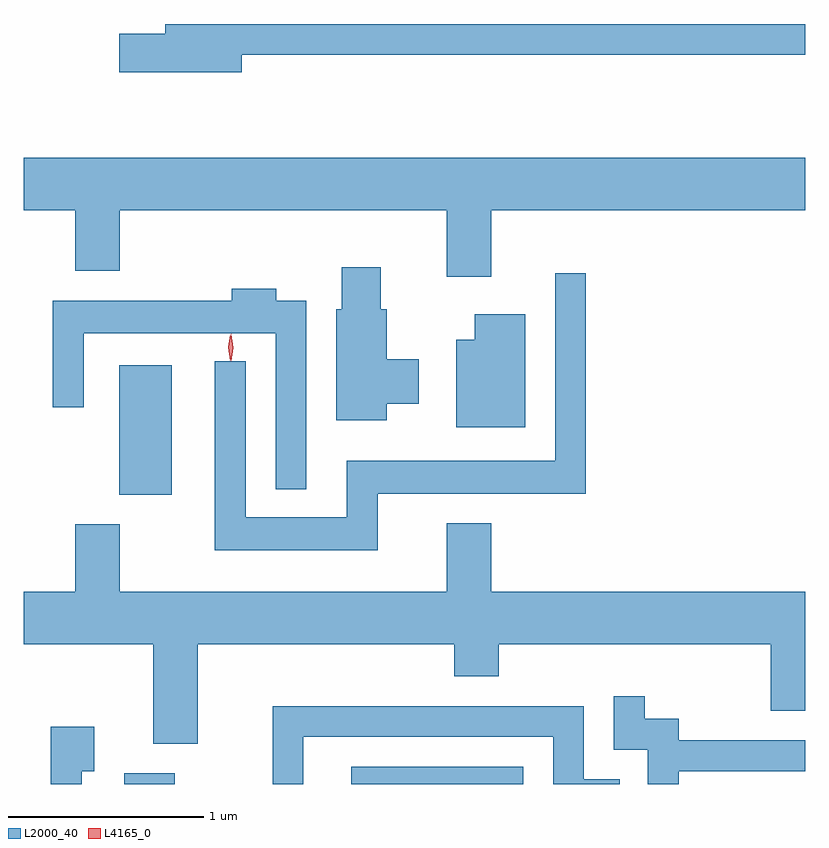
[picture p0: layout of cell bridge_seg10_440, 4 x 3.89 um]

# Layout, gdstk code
import gdstk
lib = gdstk.Library(unit=1e-6, precision=1e-09)
def R(c, l, rs):  # rectangles x0, y0, x1, y1
    for r in rs: c.add(gdstk.rectangle(r[:2], r[2:], *l))
def P(c, l, *ps):  # polygons
    for p in ps: c.add(gdstk.Polygon(p, *l))
L2000_40 = (2000, 40)
L4165_0 = (4165, 0)

bridge_seg10_440 = lib.new_cell('bridge_seg10_440')
R(bridge_seg10_440, L2000_40, [(1442.211,2099.88,1442.469,2099.934), (1443.373,2099.88,1444.254,2099.969), (1442.186,2101.361,1442.454,2102.024)])
P(bridge_seg10_440, L2000_40, [(1442.814,2103.611),(1445.697,2103.611),(1445.697,2103.769),(1442.421,2103.769),(1442.421,2103.719),(1442.186,2103.719),(1442.186,2103.521),(1442.814,2103.521)],
  [(1444.089,2102.816),(1445.697,2102.816),(1445.697,2103.084),(1441.697,2103.084),(1441.697,2102.816),(1441.961,2102.816),(1441.961,2102.506),(1442.189,2102.506),(1442.189,2102.816),(1443.861,2102.816),(1443.861,2102.476),(1444.089,2102.476)],
  [(1443.554,2101.826),(1443.719,2101.826),(1443.719,2102.054),(1443.554,2102.054),(1443.554,2102.309),(1443.524,2102.309),(1443.524,2102.524),(1443.326,2102.524),(1443.326,2102.309),(1443.296,2102.309),(1443.296,2101.741),(1443.554,2101.741)],
  [(1443.509,2101.366),(1444.574,2101.366),(1444.574,2102.493),(1444.416,2102.493),(1444.416,2101.534),(1443.351,2101.534),(1443.351,2101.244),(1442.834,2101.244),(1442.834,2102.043),(1442.676,2102.043),(1442.676,2101.076),(1443.509,2101.076)],
  [(1443.144,2102.354),(1442.989,2102.354),(1442.989,2102.414),(1442.761,2102.414),(1442.761,2102.354),(1441.846,2102.354),(1441.846,2101.808),(1442.004,2101.808),(1442.004,2102.186),(1442.986,2102.186),(1442.986,2101.388),(1443.144,2101.388)],
  [(1444.264,2102.284),(1444.006,2102.284),(1444.006,2102.154),(1443.911,2102.154),(1443.911,2101.706),(1444.264,2101.706)],
  [(1442.589,2100.596),(1443.901,2100.596),(1443.901,2100.431),(1444.129,2100.431),(1444.129,2100.596),(1445.521,2100.596),(1445.521,2100.256),(1445.697,2100.256),(1445.697,2100.864),(1444.089,2100.864),(1444.089,2101.214),(1443.861,2101.214),(1443.861,2100.864),(1442.189,2100.864),(1442.189,2101.209),(1441.961,2101.209),(1441.961,2100.864),(1441.697,2100.864),(1441.697,2100.596),(1442.361,2100.596),(1442.361,2100.086),(1442.589,2100.086)],
  [(1445.049,2099.946),(1445.697,2099.946),(1445.697,2100.104),(1445.049,2100.104),(1445.049,2100.214),(1444.874,2100.214),(1444.874,2100.328),(1444.716,2100.328),(1444.716,2100.056),(1444.891,2100.056),(1444.891,2099.88),(1445.049,2099.88)],
  [(1443.129,2100.121),(1444.406,2100.121),(1444.406,2099.88),(1444.748,2099.88),(1444.748,2099.904),(1444.564,2099.904),(1444.564,2100.279),(1442.971,2100.279),(1442.971,2099.88),(1443.129,2099.88)],
  [(1441.994,2099.946),(1442.059,2099.946),(1442.059,2100.174),(1441.836,2100.174),(1441.836,2099.88),(1441.994,2099.88)])
P(bridge_seg10_440, L4165_0, [(1442.754,2102.047),(1442.745,2102.114),(1442.754,2102.18),(1442.755,2102.18),(1442.755,2102.18),(1442.765,2102.114),(1442.755,2102.047),(1442.755,2102.047)],
  [(1442.759,2102.044),(1442.75,2102.113),(1442.759,2102.182),(1442.76,2102.183),(1442.76,2102.182),(1442.77,2102.113),(1442.76,2102.044),(1442.76,2102.044)])

lib.write_gds('bridge_seg10_440.gds')
